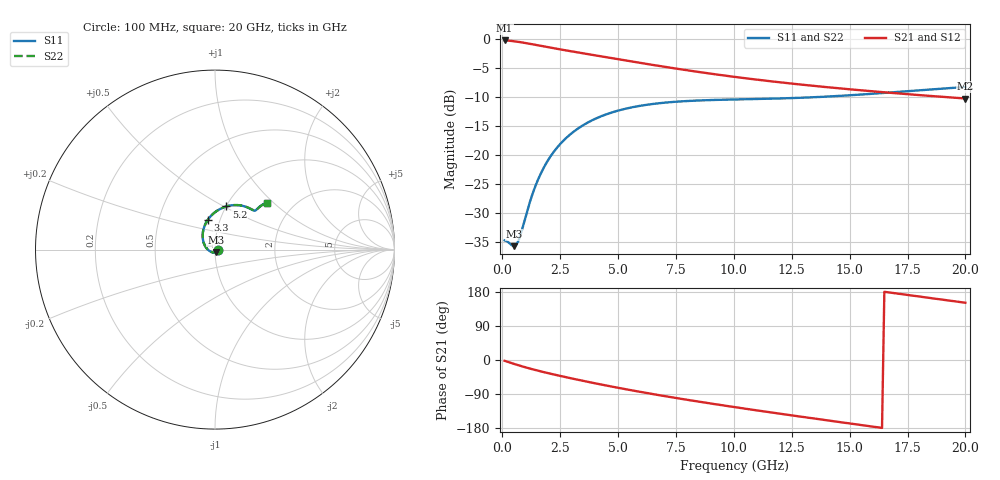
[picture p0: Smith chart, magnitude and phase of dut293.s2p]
! Touchstone file exported from HFSS 2023.1.0
!  File:  D:/Users/fzz/RDL_TSV/temp_RDL_TSV_293_1778763720.aedt
!  Generated:  9:10:40 %x4E0B%x5348  5%x6708 14, 2026
!  Design:  RDL_TSV
!  Project:  temp_RDL_TSV_293_1778763720
!  Setup:  Setup1
!  Solution:  Sweep
! Variables:
!  dtsv = 19.63um
!  hbump = 3um
!  htsv = 68.43um
!  ldown = 310.14um
!  lrdl = 417.98um
!  p = 40
!  p1 = 54.82um
!  rhole = 10um
!  subl = 2602.34um
!  t = 450um
!  tdown = 3.82um
!  trdl = 3.2um
!  viad = 10um
!  wdown = 24.76um
!  wrdl = 12.18um
!  xbump = 18um
# GHz S MA R 50.000000
! Terminal data exported
! Port[1] = TM1_1_T1
! Port[2] = TM1_4_T1
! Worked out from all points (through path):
!   200 points, 100 MHz to 20 GHz, reference 50 ohm
!   highest |S21| = -0.17 dB at 100 MHz (marker M1); lowest = -10.2 dB at 20 GHz (marker M2)
!   group delay of S21, straight-line fit = 27.3 ps
!   lowest |S11| = -35.7 dB at 500 MHz (marker M3), VSWR 1.03, Z = 50.4 - j1.6 ohm
!   |S11| at or under -10 dB: start of sweep to 13.3 GHz
!   |S22| runs from -35.7 to -8.2 dB; largest |S21 - S12| = 8.4e-14
!   S11 on the Smith chart (normalised r, x): 100 MHz: 1.04, -0.01; 3.3 GHz: 0.88, +0.30; 5.2 GHz: 1.00, +0.52; 20 GHz: 1.48, +0.91
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0.1  0.01844 -11.4  0.9807 -2.1  0.9807 -2.1  0.01844 -11.4
! Gamma 0 0 0 0
! Port Impedance 50 0 50 0
0.5  0.01642 -74.6  0.9658 -10.2  0.9658 -10.2  0.01642 -74.6
0.6  0.01682 -94.7  0.96 -12.1  0.96 -12.1  0.01682 -94.7
0.7  0.0183 -114.7  0.9537 -14.0  0.9537 -14.0  0.01831 -114.7
1.3  0.04604 172.5  0.9088 -24.4  0.9088 -24.4  0.04608 172.6
1.5  0.05879 160.0  0.8932 -27.6  0.8932 -27.6  0.05884 160.0
1.8  0.0788 145.5  0.8703 -32.1  0.8703 -32.1  0.07887 145.5
2.1  0.09897 134.0  0.8485 -36.5  0.8485 -36.5  0.09906 134.0
2.5  0.1251 121.7  0.8211 -42.0  0.8211 -42.0  0.1252 121.7
2.9  0.1495 111.6  0.7953 -47.4  0.7953 -47.4  0.1497 111.6
3.3  0.1719 103.0  0.7707 -52.6  0.7707 -52.6  0.1721 103.0
3.5  0.1823 99.2  0.7588 -55.2  0.7588 -55.2  0.1825 99.2
4.3  0.2184 86.3  0.7132 -65.1  0.7132 -65.1  0.2187 86.3
5.2  0.249 75.1  0.6653 -75.6  0.6653 -75.6  0.2493 75.1
6.8  0.282 61.0  0.5897 -93.1  0.5897 -93.1  0.2825 61.0
8.4  0.2969 52.2  0.527 -109.1  0.527 -109.1  0.2975 52.1
10.1  0.3036 46.9  0.4735 -125.0  0.4735 -125.0  0.3043 46.8
11.7  0.3085 44.6  0.4332 -139.2  0.4332 -139.2  0.3091 44.5
13.4  0.3169 43.9  0.3984 -153.9  0.3984 -153.9  0.3175 43.8
15  0.3297 43.9  0.3715 -167.4  0.3715 -167.4  0.3301 43.8
16.7  0.348 43.8  0.3472 178.3  0.3472 178.3  0.3483 43.7
20  0.3891 42.1  0.3093 151.0  0.3093 151.0  0.3892 42.0
